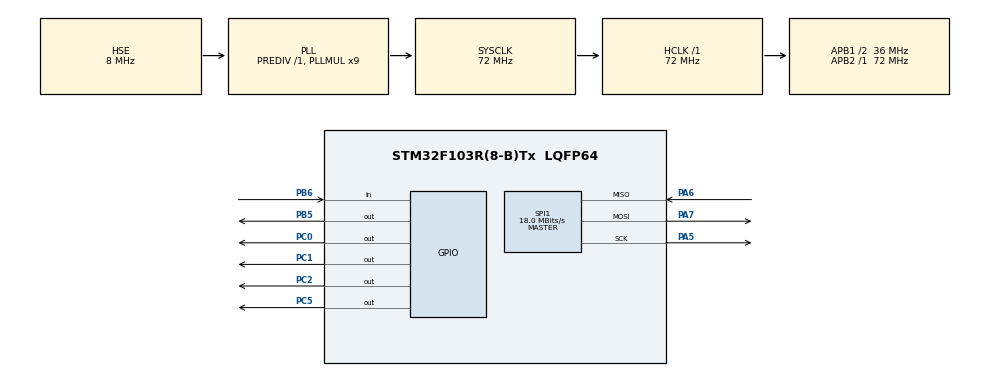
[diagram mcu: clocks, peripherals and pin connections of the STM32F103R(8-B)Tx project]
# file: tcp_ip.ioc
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Mcu.Family=STM32F1
Mcu.Name=STM32F103R(8-B)Tx
Mcu.Package=LQFP64
NVIC.PriorityGroup=NVIC_PRIORITYGROUP_4
NVIC.TIM1_UP_IRQn=true\:0\:0\:false\:false\:true\:false\:true
NVIC.TimeBase=TIM1_UP_IRQn
NVIC.TimeBaseIP=TIM1
PA13.Mode=Trace_Asynchronous_SW
PA13.Signal=SYS_JTMS-SWDIO
PA14.Mode=Trace_Asynchronous_SW
PA14.Signal=SYS_JTCK-SWCLK
PA5.Mode=Full_Duplex_Master
PA5.Signal=SPI1_SCK
PA6.Mode=Full_Duplex_Master
PA6.Signal=SPI1_MISO
PA7.Mode=Full_Duplex_Master
PA7.Signal=SPI1_MOSI
PB3.Mode=Trace_Asynchronous_SW
PB3.Signal=SYS_JTDO-TRACESWO
PB5.GPIO_Speed=GPIO_SPEED_FREQ_HIGH
PB5.PinState=GPIO_PIN_RESET
PB5.Signal=GPIO_Output
PB6.Signal=GPIO_Input
PC0.GPIO_Speed=GPIO_SPEED_FREQ_HIGH
PC0.Signal=GPIO_Output
PC1.GPIO_Speed=GPIO_SPEED_FREQ_HIGH
PC1.Signal=GPIO_Output
PC2.GPIO_Speed=GPIO_SPEED_FREQ_HIGH
PC2.Signal=GPIO_Output
PC5.GPIO_Speed=GPIO_SPEED_FREQ_HIGH
PC5.Signal=GPIO_Output
PD0-OSC_IN.Mode=HSE-External-Oscillator
PD0-OSC_IN.Signal=RCC_OSC_IN
PD1-OSC_OUT.Mode=HSE-External-Oscillator
PD1-OSC_OUT.Signal=RCC_OSC_OUT
ProjectManager.HeapSize=0x200
ProjectManager.StackSize=0x400
ProjectManager.TargetToolchain=MDK-ARM V5.27
RCC.ADCPresc=RCC_ADCPCLK2_DIV6
RCC.AHBFreq_Value=72000000
RCC.APB1CLKDivider=RCC_HCLK_DIV2
RCC.APB1Freq_Value=36000000
RCC.APB1TimFreq_Value=72000000
RCC.APB2Freq_Value=72000000
RCC.APB2TimFreq_Value=72000000
RCC.HCLKFreq_Value=72000000
RCC.PLLMUL=RCC_PLL_MUL9
RCC.PLLSourceVirtual=RCC_PLLSOURCE_HSE
RCC.SYSCLKFreq_VALUE=72000000
RCC.SYSCLKSource=RCC_SYSCLKSOURCE_PLLCLK
RCC.USBFreq_Value=72000000
SPI1.BaudRatePrescaler=SPI_BAUDRATEPRESCALER_4
SPI1.CLKPhase=SPI_PHASE_1EDGE
SPI1.CLKPolarity=SPI_POLARITY_LOW
SPI1.CalculateBaudRate=18.0 MBits/s
SPI1.Direction=SPI_DIRECTION_2LINES
SPI1.Mode=SPI_MODE_MASTER
SPI1.VirtualType=VM_MASTER
VP_SYS_VS_tim1.Mode=TIM1
board=custom

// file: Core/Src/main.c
/* USER CODE BEGIN Header */
/**
  ******************************************************************************
  * @file           : main.c
  * @brief          : Main program body
  ******************************************************************************
  * @attention
  *
  * <h2><center>&copy; Copyright (c) 2021 STMicroelectronics.
  * All rights reserved.</center></h2>
  *
  * This software component is licensed by ST under BSD 3-Clause license,
  * the "License"; You may not use this file except in compliance with the
  * License. You may obtain a copy of the License at:
  *                        opensource.org/licenses/BSD-3-Clause
  *
  ******************************************************************************
  */
/* USER CODE END Header */
#include "main.h"

/* USER CODE BEGIN Includes */
#include <stdbool.h>
#include "wizchip_conf.h"
#include "socket.h"
#include "dhcp.h"
#include "dns.h"
/* USER CODE END Includes */

SPI_HandleTypeDef hspi1;

void SystemClock_Config(void);
static void MX_GPIO_Init(void);
static void MX_SPI1_Init(void);

/* USER CODE BEGIN 0 */
#define DHCP_SOCKET     0
#define DNS_SOCKET      1
#define HTTP_SOCKET     2

void SWO_Printf(const char* msg) {
	for(uint8_t i =0; i < 255; i++){
		ITM_SendChar(msg[i]);
		if(msg[i] == '\n') break;
	}
}

void SWO_Printn(const uint8_t num) {
	uint8_t buf, dig_n, nn[3];
	buf = num;
	dig_n = 0;

	if(num == 0){
		ITM_SendChar(num + 0x30);
	}else{
		while(buf > 0){
			buf /= 10;
			dig_n++;
		}
		buf = num;
		for(uint8_t i = 0; i < dig_n; i++){
			nn[i] = buf % 10;
			buf /= 10;
		}
		for(uint8_t i = dig_n; i > 0; i--){
			ITM_SendChar(nn[i - 1] + 0x30);
		}
	}
	SWO_Printf("  ");
}

void W5500_Select(void) {
    HAL_GPIO_WritePin(PORT_WIZ_CS, WIZ_CS, GPIO_PIN_RESET);
}

void W5500_Unselect(void) {
    HAL_GPIO_WritePin(PORT_WIZ_CS, WIZ_CS, GPIO_PIN_SET);
}

void W5500_ReadBuff(uint8_t* buff, uint16_t len) {
		//W5500_Select();
    HAL_SPI_Receive(&hspi1, buff, len, HAL_MAX_DELAY);
		//W5500_Unselect();
}

void W5500_WriteBuff(uint8_t* buff, uint16_t len) {
		//W5500_Select();
    HAL_SPI_Transmit(&hspi1, buff, len, HAL_MAX_DELAY);
		//W5500_Unselect();
}

uint8_t W5500_ReadByte(void) {
    uint8_t byte;
    W5500_ReadBuff(&byte, sizeof(byte));
    return byte;
}

void W5500_WriteByte(uint8_t byte) {
    W5500_WriteBuff(&byte, sizeof(byte));
}

void init() {
    reg_wizchip_cs_cbfunc(W5500_Select, W5500_Unselect);
    reg_wizchip_spi_cbfunc(W5500_ReadByte, W5500_WriteByte);
    reg_wizchip_spiburst_cbfunc(W5500_ReadBuff, W5500_WriteBuff);

    uint8_t rx_tx_buff_sizes[] = {2, 2, 2, 2, 2, 2, 2, 2};
    wizchip_init(rx_tx_buff_sizes, rx_tx_buff_sizes);
}

void loop() {
    HAL_Delay(1000);
}

/* USER CODE END 0 */

int main(void)
{

  /* MCU Configuration--------------------------------------------------------*/

  /* Reset of all peripherals, Initializes the Flash interface and the Systick. */
  HAL_Init();

  /* Configure the system clock */
  SystemClock_Config();

  /* Initialize all configured peripherals */
  MX_GPIO_Init();
  MX_SPI1_Init();
  /* USER CODE BEGIN 2 */
	HAL_GPIO_WritePin(PORT_LED0, LED0, GPIO_PIN_SET);
	HAL_Delay(100);
	HAL_GPIO_WritePin(PORT_LED0, LED0, GPIO_PIN_RESET);
	HAL_GPIO_WritePin(PORT_LED1, LED1, GPIO_PIN_SET);
	HAL_Delay(100);
	HAL_GPIO_WritePin(PORT_LED1, LED1, GPIO_PIN_RESET);
	HAL_GPIO_WritePin(PORT_LED2, LED2, GPIO_PIN_SET);
	HAL_Delay(100);
	HAL_GPIO_WritePin(PORT_LED2, LED2, GPIO_PIN_RESET);
	HAL_GPIO_WritePin(PORT_WIZ_RS, WIZ_RS, GPIO_PIN_SET);
	HAL_Delay(100);
	HAL_GPIO_WritePin(PORT_WIZ_RS, WIZ_RS, GPIO_PIN_RESET);
	HAL_Delay(500);

	uint8_t tx_buff[SPI_FRAME_SIZE] = {0x00, 0x00, 0x00, 0x00, 0x00, 0x00, 0x00};
	uint8_t rx_buff[SPI_FRAME_SIZE] = {0x00, 0x00, 0x00, 0x00, 0x00, 0x00, 0x00};
	uint8_t* p  = tx_buff;

	while(1){
	p  = tx_buff;
	*p++ = 0x00;	*p++ = 0x2e;	//address phase
	*p++ = 0x00 | 0x00 | 0x01; //control phase (1 bytes)
	*p++ = 0x00;//data phase
	HAL_SPI_TransmitReceive(&hspi1, tx_buff, rx_buff ,4, SPI_TIME_OUT);
		if((rx_buff[3] & 0x01) != 0) break;
		HAL_Delay(100);
	}
	HAL_GPIO_WritePin(PORT_LED0, LED0, GPIO_PIN_SET);

	init();
	uint8_t gw[4] = {1, 1, 1, 1};
	uint8_t 	sn[4] = {255, 255, 255, 0};
	uint8_t 	sip[4] = {192, 168, 100, 51};
  uint8_t mac[6] = {0xa4, 0x03, 0x26, 0xa7, 0x44, 0x01};
	 setSHAR(mac);
   setGAR(gw);
   setSUBR(sn);
   setSIPR(sip);

	uint8_t 	srv_ip[4] = {192, 168, 100, 50};
	uint8_t sc_nr = 0;
	uint16_t port = 502;
	socket(sc_nr, Sn_MR_TCP, port, SF_TCP_NODELAY);
	if(connect(sc_nr, srv_ip, port) == SOCK_OK) HAL_GPIO_WritePin(PORT_LED1, LED1, GPIO_PIN_SET);
	#define P_LEN 7
	uint8_t pack[P_LEN] = {'z', 'a', 'l', 'u', 'p', 'a', ' '};
	//close(sc_nr);
  /* USER CODE END 2 */

  /* Infinite loop */
  /* USER CODE BEGIN WHILE */
  while (1)
  {
		//send(sc_nr, pack, P_LEN - 1);
		//HAL_Delay(1000);
		pack[0] = 'g'; pack[1] = 'o'; pack[2] = 'v'; pack[3] = 'n'; pack[4] = 'o';
		send(sc_nr, pack, P_LEN - 2);
		//HAL_Delay(10);
		pack[0] = 'z'; pack[1] = 'h'; pack[2] = 'o'; pack[3] = 'p'; pack[4] = 'a';
		send(sc_nr, pack, P_LEN - 2);
		//HAL_Delay(10);
		pack[0] = 'b'; pack[1] = 'a'; pack[2] = 'r'; pack[3] = 'e'; pack[4] = 'b'; pack[5] = 'u'; pack[6] = 'h';
		send(sc_nr, pack, P_LEN);
		//HAL_Delay(10);
		pack[0] = 's'; pack[1] = 'u'; pack[2] = 'k'; pack[3] = 'a';
		send(sc_nr, pack, P_LEN - 3);
		//HAL_Delay(10);

    /* USER CODE END WHILE */
  }
}

void SystemClock_Config(void)
{
  RCC_OscInitTypeDef RCC_OscInitStruct = {0};
  RCC_ClkInitTypeDef RCC_ClkInitStruct = {0};

  /** Initializes the RCC Oscillators according to the specified parameters
  * in the RCC_OscInitTypeDef structure.
  */
  RCC_OscInitStruct.OscillatorType = RCC_OSCILLATORTYPE_HSE;
  RCC_OscInitStruct.HSEState = RCC_HSE_ON;
  RCC_OscInitStruct.HSEPredivValue = RCC_HSE_PREDIV_DIV1;
  RCC_OscInitStruct.HSIState = RCC_HSI_ON;
  RCC_OscInitStruct.PLL.PLLState = RCC_PLL_ON;
  RCC_OscInitStruct.PLL.PLLSource = RCC_PLLSOURCE_HSE;
  RCC_OscInitStruct.PLL.PLLMUL = RCC_PLL_MUL9;
  if (HAL_RCC_OscConfig(&RCC_OscInitStruct) != HAL_OK)
  {
    Error_Handler();
  }
  /** Initializes the CPU, AHB and APB buses clocks
  */
  RCC_ClkInitStruct.ClockType = RCC_CLOCKTYPE_HCLK|RCC_CLOCKTYPE_SYSCLK
                              |RCC_CLOCKTYPE_PCLK1|RCC_CLOCKTYPE_PCLK2;
  RCC_ClkInitStruct.SYSCLKSource = RCC_SYSCLKSOURCE_PLLCLK;
  RCC_ClkInitStruct.AHBCLKDivider = RCC_SYSCLK_DIV1;
  RCC_ClkInitStruct.APB1CLKDivider = RCC_HCLK_DIV2;
  RCC_ClkInitStruct.APB2CLKDivider = RCC_HCLK_DIV1;

  if (HAL_RCC_ClockConfig(&RCC_ClkInitStruct, FLASH_LATENCY_2) != HAL_OK)
  {
    Error_Handler();
  }
}

static void MX_SPI1_Init(void)
{

  /* SPI1 parameter configuration*/
  hspi1.Instance = SPI1;
  hspi1.Init.Mode = SPI_MODE_MASTER;
  hspi1.Init.Direction = SPI_DIRECTION_2LINES;
  hspi1.Init.DataSize = SPI_DATASIZE_8BIT;
  hspi1.Init.CLKPolarity = SPI_POLARITY_LOW;
  hspi1.Init.CLKPhase = SPI_PHASE_1EDGE;
  hspi1.Init.NSS = SPI_NSS_SOFT;
  hspi1.Init.BaudRatePrescaler = SPI_BAUDRATEPRESCALER_4;
  hspi1.Init.FirstBit = SPI_FIRSTBIT_MSB;
  hspi1.Init.TIMode = SPI_TIMODE_DISABLE;
  hspi1.Init.CRCCalculation = SPI_CRCCALCULATION_DISABLE;
  hspi1.Init.CRCPolynomial = 10;
  if (HAL_SPI_Init(&hspi1) != HAL_OK)
  {
    Error_Handler();
  }

}

static void MX_GPIO_Init(void)
{
  GPIO_InitTypeDef GPIO_InitStruct = {0};

  /* GPIO Ports Clock Enable */
  __HAL_RCC_GPIOD_CLK_ENABLE();
  __HAL_RCC_GPIOC_CLK_ENABLE();
  __HAL_RCC_GPIOA_CLK_ENABLE();
  __HAL_RCC_GPIOB_CLK_ENABLE();

  /*Configure GPIO pin Output Level */
  HAL_GPIO_WritePin(GPIOC, GPIO_PIN_0|GPIO_PIN_1|GPIO_PIN_2|GPIO_PIN_5, GPIO_PIN_RESET);

  /*Configure GPIO pin Output Level */
  HAL_GPIO_WritePin(GPIOB, GPIO_PIN_5, GPIO_PIN_RESET);

  /*Configure GPIO pins : PC0 PC1 PC2 PC5 */
  GPIO_InitStruct.Pin = GPIO_PIN_0|GPIO_PIN_1|GPIO_PIN_2|GPIO_PIN_5;
  GPIO_InitStruct.Mode = GPIO_MODE_OUTPUT_PP;
  GPIO_InitStruct.Pull = GPIO_NOPULL;
  GPIO_InitStruct.Speed = GPIO_SPEED_FREQ_HIGH;
  HAL_GPIO_Init(GPIOC, &GPIO_InitStruct);

  /*Configure GPIO pin : PB5 */
  GPIO_InitStruct.Pin = GPIO_PIN_5;
  GPIO_InitStruct.Mode = GPIO_MODE_OUTPUT_PP;
  GPIO_InitStruct.Pull = GPIO_NOPULL;
  GPIO_InitStruct.Speed = GPIO_SPEED_FREQ_HIGH;
  HAL_GPIO_Init(GPIOB, &GPIO_InitStruct);

  /*Configure GPIO pin : PB6 */
  GPIO_InitStruct.Pin = GPIO_PIN_6;
  GPIO_InitStruct.Mode = GPIO_MODE_INPUT;
  GPIO_InitStruct.Pull = GPIO_NOPULL;
  HAL_GPIO_Init(GPIOB, &GPIO_InitStruct);

}

void HAL_TIM_PeriodElapsedCallback(TIM_HandleTypeDef *htim)
{
  if (htim->Instance == TIM1) {
    HAL_IncTick();
  }
}

void Error_Handler(void)
{
}

/************************ (C) COPYRIGHT STMicroelectronics *****END OF FILE****/
